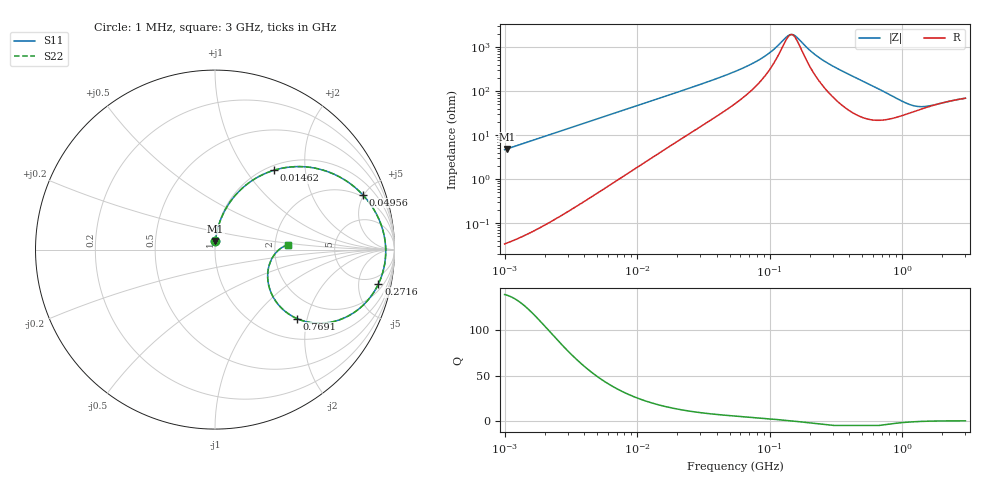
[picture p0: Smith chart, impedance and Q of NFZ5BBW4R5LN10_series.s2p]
! NFZ5BBW4R5LN10
# Hz S RI R 50
!Freq.(Hz) S11(Real) S11(Imag) S21(Real) S21(Imag) S12(Real) S12(Imag) S22(Real) S22(Imag)
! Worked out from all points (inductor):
!   401 points, 1 MHz to 3 GHz, reference 50 ohm
!   read as one part in series: L = 744 nH near 1.041 MHz
!   highest Q = 139 at 1.041 MHz (marker M1), where L = 744 nH
!   self-resonance near 145.8 MHz
!   S11 on the Smith chart (normalised r, x): 1 MHz: 1.00, +0.09; 14.62 MHz: 1.08, +1.37; 49.56 MHz: 1.83, +4.89; 271.6 MHz: 3.02, -8.59; 769.1 MHz: 1.45, -1.73; 3 GHz: 2.38, +0.15
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1000000  0.00251 0.0466  0.9975 -0.0466  0.9975 -0.0466  0.00251 0.0466
1040844  0.00271 0.0485  0.9973 -0.0485  0.9973 -0.0485  0.00271 0.0485
3823119  0.0336 0.1723  0.9664 -0.1723  0.9664 -0.1723  0.0336 0.1723
7858845  0.1267 0.3173  0.8733 -0.3173  0.8733 -0.3173  0.1267 0.3173
1.461624e7  0.3286 0.4422  0.6714 -0.4422  0.6714 -0.4422  0.3286 0.4422
2.509235e7  0.5772 0.4495  0.4228 -0.4495  0.4228 -0.4495  0.5772 0.4495
4.955604e7  0.8225 0.3061  0.1775 -0.3061  0.1775 -0.3061  0.8225 0.3061
5.477226e7  0.8465 0.2786  0.1535 -0.2786  0.1535 -0.2786  0.8465 0.2786
7.248696e7  0.8987 0.1996  0.1013 -0.1996  0.1013 -0.1996  0.8987 0.1996
9.034013e7  0.9261 0.1369  0.0739 -0.1369  0.0739 -0.1369  0.9261 0.1369
1.431579e8  0.951 0.00533  0.049 -0.00533  0.049 -0.00533  0.951 0.00533
1.582265e8  0.951 -0.0238  0.049 0.0238  0.049 0.0238  0.951 -0.0238
2.094008e8  0.9397 -0.108  0.0603 0.108  0.0603 0.108  0.9397 -0.108
2.716345e8  0.9107 -0.191  0.0893 0.191  0.0893 0.191  0.9107 -0.191
4.480278e8  0.7711 -0.3529  0.2289 0.3529  0.2289 0.3529  0.7711 -0.3529
6.049187e8  0.6099 -0.4093  0.3901 0.4093  0.3901 0.4093  0.6099 -0.4093
7.691493e8  0.456 -0.3841  0.544 0.3841  0.544 0.3841  0.456 -0.3841
8.005644e8  0.432 -0.372  0.568 0.372  0.568 0.372  0.432 -0.372
1.038491e9  0.3181 -0.2532  0.6819 0.2532  0.6819 0.2532  0.3181 -0.2532
1.374365e9  0.2962 -0.1125  0.7038 0.1125  0.7038 0.1125  0.2962 -0.1125
1.931433e9  0.3448 -0.0115  0.6552 0.0115  0.6552 0.0115  0.3448 -0.0115
3e9  0.4092 0.0269  0.5908 -0.0269  0.5908 -0.0269  0.4092 0.0269
